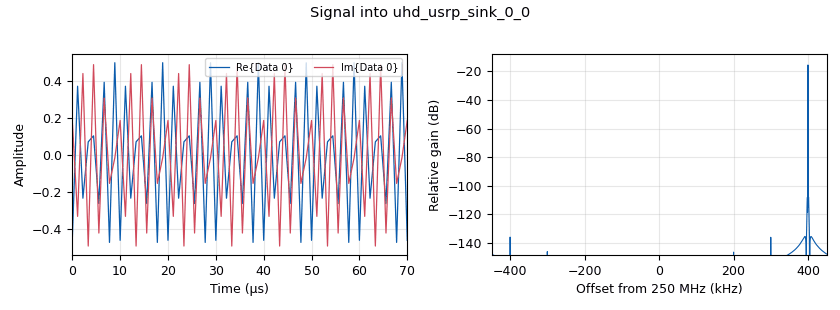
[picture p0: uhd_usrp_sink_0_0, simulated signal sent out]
<?xml version='1.0' encoding='utf-8'?>
<flow_graph>
<block>
<key>options</key>
<param><key>id</key><value>top_block</value></param>
<param><key>generate_options</key><value>wx_gui</value></param>
<param><key>category</key><value>Custom</value></param>
</block>
<block>
<key>uhd_usrp_sink</key>
<param><key>id</key><value>uhd_usrp_sink_0_0</value></param>
<param><key>type</key><value>fc32</value></param>
<param><key>dev_addr</key><value></value></param>
<param><key>sync</key><value></value></param>
<param><key>clock_rate</key><value>0.0</value></param>
<param><key>samp_rate</key><value>samp_rate</value></param>
<param><key>center_freq0</key><value>250000000</value></param>
<param><key>gain0</key><value>-1</value></param>
<param><key>ant0</key><value></value></param>
<param><key>bw0</key><value>samp_rate/2</value></param>
</block>
<block>
<key>gr_sig_source_x</key>
<param><key>id</key><value>gr_sig_source_x_0</value></param>
<param><key>type</key><value>complex</value></param>
<param><key>samp_rate</key><value>samp_rate</value></param>
<param><key>waveform</key><value>gr.GR_SIN_WAVE</value></param>
<param><key>freq</key><value>400000</value></param>
<param><key>amp</key><value>.5</value></param>
<param><key>offset</key><value>0</value></param>
</block>
<block>
<key>variable</key>
<param><key>id</key><value>samp_rate</value></param>
<param><key>value</key><value>900000</value></param>
</block>
<connection><source_block_id>gr_sig_source_x_0</source_block_id><sink_block_id>uhd_usrp_sink_0_0</sink_block_id><source_key>0</source_key><sink_key>0</sink_key></connection>
</flow_graph>
